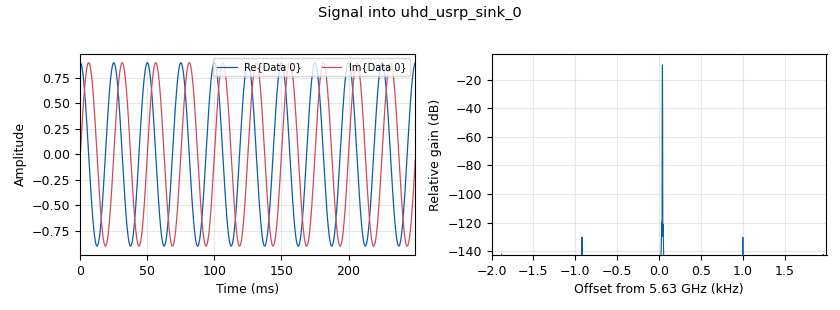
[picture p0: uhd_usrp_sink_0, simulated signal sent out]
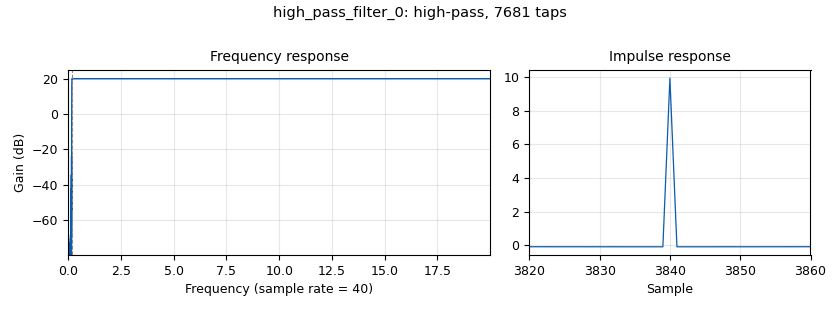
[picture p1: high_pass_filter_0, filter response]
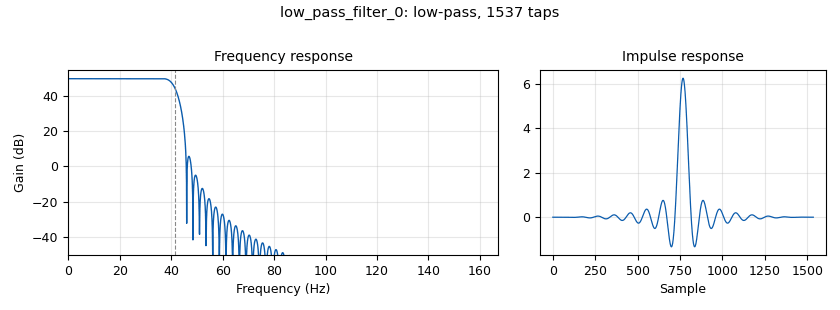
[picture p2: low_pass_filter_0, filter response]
options:
  parameters:
    generate_options: qt_gui
    id: PruebaFiltros
    output_language: python
    title: Prueba Filtros
  states: {}

blocks:
- name: HP_fre_after
  id: variable_qtgui_range
  parameters:
    start: '0'
    step: samp_rate/200
    stop: samp_rate/2
    value: samp_rate/2
  states: {state: disabled}
- name: LP_fre
  id: variable_qtgui_range
  parameters:
    start: 1e3
    step: '100'
    stop: samp_rate/2
    value: '1025900'
  states: {state: disabled}
- name: M
  id: variable
  parameters:
    value: '100'
  states: {}
- name: amplitude
  id: variable
  parameters:
    value: '900e-3'
  states: {}
- name: fft_size
  id: variable
  parameters:
    comment: |-
      Techo de la
      potencia más
      cercana
      o Límite
    value: min( int(2**np.ceil(np.log2(t*samp_rate))) , 2**15)
  states: {}
- name: fre_res_var
  id: variable_qtgui_range
  parameters:
    label: '" HPF Respiration"'
    start: '0'
    step: samp_rate/(2*M*100)
    stop: samp_rate/(2*M)
    value: min_res_rat
  states: {}
- name: freq
  id: variable
  parameters:
    value: 5.63e9
  states: {}
- name: freq_tone
  id: variable
  parameters:
    value: samp_rate/100
  states: {}
- name: max_fre_vital_signals
  id: variable
  parameters:
    value: 100/60
  states: {}
- name: min_res_rat
  id: variable
  parameters:
    value: 10/60
  states: {}
- name: n_periodos_tiempo
  id: variable
  parameters:
    value: int( np.ceil(  periodos_tiempo*samp_rate/freq_tone ) )
  states: {}
- name: periodos_tiempo
  id: variable
  parameters:
    value: '10'
  states: {}
- name: rx_gain
  id: variable_qtgui_range
  parameters:
    start: '0'
    step: '1'
    stop: '50'
    value: '43'
  states: {}
- name: samp_rate
  id: variable
  parameters:
    value: 4e3
  states: {}
- name: t
  id: variable
  parameters:
    comment: Seconds
    value: '1'
  states: {}
- name: tx_gain
  id: variable_qtgui_range
  parameters:
    start: '0'
    step: '1'
    stop: '50'
    value: '34'
  states: {}
- name: variable_0
  id: variable
  parameters:
    value: freq_tone+max_fre_vital_signals
  states: {}
- name: window_size
  id: variable
  parameters:
    value: '2048'
  states: {}
- name: analog_sig_source_x_0
  id: analog_sig_source_x
  parameters:
    amp: '900e-3'
    freq: freq_tone
    offset: '0'
    phase: '0'
    samp_rate: samp_rate
    type: complex
    waveform: analog.GR_SIN_WAVE
  states: {}
- name: blocks_complex_to_arg_0
  id: blocks_complex_to_arg
  parameters: {}
  states: {state: disabled}
- name: blocks_complex_to_arg_1
  id: blocks_complex_to_arg
  parameters: {}
  states: {}
- name: blocks_multiply_conjugate_cc_0
  id: blocks_multiply_conjugate_cc
  parameters: {}
  states: {state: disabled}
- name: blocks_multiply_conjugate_cc_1
  id: blocks_multiply_conjugate_cc
  parameters: {}
  states: {}
- name: filter_fft_low_pass_filter_0
  id: filter_fft_low_pass_filter
  parameters:
    cutoff_freq: LP_fre
    decim: '1'
    gain: '1'
    samp_rate: samp_rate
    type: ccc
    width: LP_fre/16
    win: window.WIN_HAMMING
  states: {state: disabled}
- name: high_pass_filter_0
  id: high_pass_filter
  parameters:
    cutoff_freq: fre_res_var
    decim: '1'
    gain: '10'
    samp_rate: samp_rate/M
    type: fir_filter_fff
    width: fre_res_var/16
    win: window.WIN_HANN
  states: {}
- name: import_0
  id: import
  parameters:
    imports: import numpy as np
  states: {}
- name: low_pass_filter_0
  id: low_pass_filter
  parameters:
    cutoff_freq: max_fre_vital_signals+freq_tone
    decim: '1'
    gain: '300'
    samp_rate: samp_rate
    type: fir_filter_ccf
    width: (max_fre_vital_signals+freq_tone)/8
    win: window.WIN_HANN
  states: {}
- name: low_pass_filter_0_0_0
  id: low_pass_filter
  parameters:
    cutoff_freq: freq_tone+max_fre_vital_signals
    decim: '1'
    gain: '1'
    samp_rate: samp_rate
    type: fir_filter_ccf
    width: (freq_tone+max_fre_vital_signals)/8
    win: window.WIN_HANN
  states: {state: disabled}
- name: qtgui_freq_sink_x_0
  id: qtgui_freq_sink_x
  parameters:
    bw: samp_rate/M
    fc: '0'
    fftsize: fft_size
    name: '"Phase Frequency"'
    type: float
    wintype: window.WIN_HANN
  states: {}
- name: qtgui_freq_sink_x_0_0
  id: qtgui_freq_sink_x
  parameters:
    bw: samp_rate
    fc: '0'
    fftsize: '1024'
    name: '"Input"'
    type: complex
    wintype: window.WIN_HANN
  states: {state: disabled}
- name: qtgui_time_sink_x_0
  id: qtgui_time_sink_x
  parameters:
    size: '5000'
    srate: '244.141'
    type: float
  states: {state: disabled}
- name: qtgui_time_sink_x_2
  id: qtgui_time_sink_x
  parameters:
    nconnections: '2'
    size: n_periodos_tiempo
    srate: samp_rate
    type: complex
  states: {}
- name: rational_resampler_xxx_0
  id: rational_resampler_xxx
  parameters:
    decim: decimRate
    fbw: '400e-3'
    interp: '1'
    type: ccc
  states: {state: disabled}
- name: rational_resampler_xxx_2
  id: rational_resampler_xxx
  parameters:
    decim: '100'
    fbw: '0.4'
    interp: '1'
    type: ccc
  states: {}
- name: uhd_usrp_sink_0
  id: uhd_usrp_sink
  parameters:
    ant0: '"TX/RX"'
    bw0: samp_rate
    center_freq0: freq
    gain0: tx_gain
    samp_rate: samp_rate
    sync: sync
    type: fc32
  states: {}
- name: uhd_usrp_source_0
  id: uhd_usrp_source
  parameters:
    ant0: '"RX2"'
    center_freq0: freq
    gain0: rx_gain
    samp_rate: samp_rate
    sync: none
    type: fc32
  states: {}
- name: virtual_sink_0
  id: virtual_sink
  parameters:
    stream_id: fre_out
  states: {}
- name: virtual_source_0
  id: virtual_source
  parameters:
    stream_id: fre_out
  states: {}
- name: virtual_source_0_0
  id: virtual_source
  parameters:
    stream_id: fre_out
  states: {}

connections:
- [analog_sig_source_x_0, '0', uhd_usrp_sink_0, '0']
- [analog_sig_source_x_0, '0', virtual_sink_0, '0']
- [blocks_complex_to_arg_0, '0', qtgui_time_sink_x_0, '0']
- [blocks_complex_to_arg_1, '0', high_pass_filter_0, '0']
- [blocks_multiply_conjugate_cc_0, '0', rational_resampler_xxx_0, '0']
- [blocks_multiply_conjugate_cc_1, '0', rational_resampler_xxx_2, '0']
- [high_pass_filter_0, '0', qtgui_freq_sink_x_0, '0']
- [low_pass_filter_0, '0', blocks_multiply_conjugate_cc_1, '0']
- [low_pass_filter_0, '0', qtgui_time_sink_x_2, '0']
- [rational_resampler_xxx_0, '0', blocks_complex_to_arg_0, '0']
- [rational_resampler_xxx_2, '0', blocks_complex_to_arg_1, '0']
- [uhd_usrp_source_0, '0', low_pass_filter_0, '0']
- [uhd_usrp_source_0, '0', qtgui_freq_sink_x_0_0, '0']
- [virtual_source_0, '0', blocks_multiply_conjugate_cc_1, '1']
- [virtual_source_0_0, '0', qtgui_time_sink_x_2, '1']

metadata:
  file_format: 1
  grc_version: 3.10.8.0
